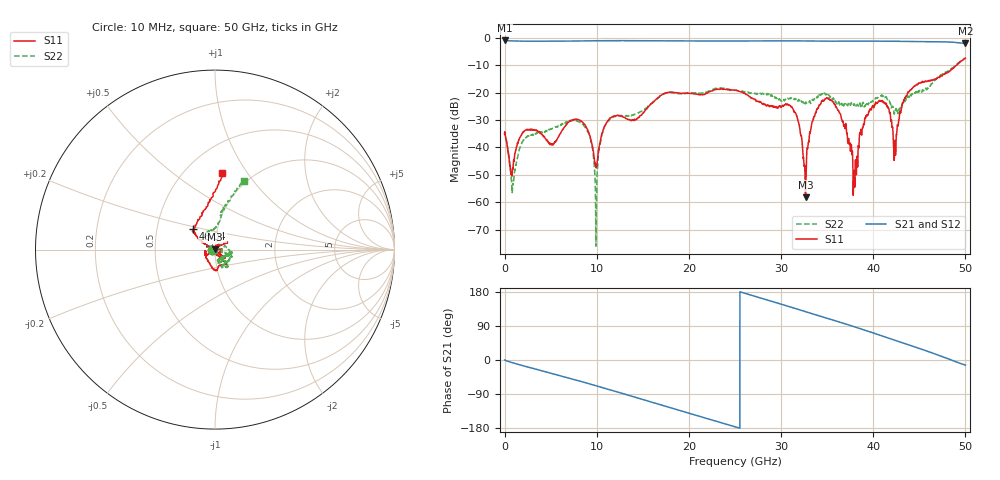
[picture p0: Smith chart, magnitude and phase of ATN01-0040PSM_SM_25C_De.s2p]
!Keysight Technologies,N5247B,US58420632,A.15.75.19
!Date: Wednesday, November 29, 2023 11:38:27
!Correction: S11(C  2-Port  )
!S21(C  2-Port  )
!S12(C  2-Port  )
!S22(C  2-Port  )
!S2P File: Measurements: S11, S21, S12, S22:
# Hz S  dB  R 50
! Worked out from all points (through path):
!   5000 points, 10 MHz to 50 GHz, reference 50 ohm
!   highest |S21| = -0.97 dB at 10 MHz (marker M1); lowest = -2.1 dB at 50 GHz (marker M2)
!   group delay of S21, straight-line fit = 20.5 ps
!   lowest |S11| = -58.1 dB at 32.66 GHz (marker M3), VSWR 1.00, Z = 49.9 + j0.0961 ohm
!   |S11| at or under -10 dB: start of sweep to 49.04 GHz; 49.04813 GHz to 49.05035 GHz (2.218 MHz wide, 0.00452 % of centre)
!   |S22| runs from -76.0 to -7.6 dB; largest |S21 - S12| = 0.0016
!   S11 on the Smith chart (normalised r, x): 10 MHz: 0.97, -0.00; 46.04 GHz: 0.76, +0.18; 50 GHz: 0.74, +0.77
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1e7  -34.99 -177.6  -0.97 -0.1  -0.97 -0.1  -35.49 -177.7
9e8  -47.95 6.0  -1.13 -7.5  -1.14 -7.5  -53.44 24.1
2.37e9  -33.59 -46.6  -1.24 -17.5  -1.25 -17.5  -36.34 -53.4
5.16e9  -38.63 -87.0  -1.22 -35.6  -1.23 -35.6  -33.17 -58.8
8.35e9  -30.55 -148.0  -1.14 -56.9  -1.15 -56.9  -31.07 -144.5
9.35e9  -36.83 -141.7  -1.10 -63.8  -1.11 -63.8  -37.22 -161.1
9.92e9  -47.06 -71.0  -1.08 -67.8  -1.09 -67.8  -75.91 30.3
1.044e10  -37.01 -1.0  -1.07 -71.5  -1.08 -71.5  -37.42 12.0
1.119e10  -30.31 4.2  -1.06 -76.8  -1.06 -76.8  -30.66 11.7
1.668e10  -21.77 -52.3  -1.09 -116.5  -1.09 -116.5  -21.97 -20.0
2.501e10  -19.03 -94.4  -1.16 -176.3  -1.17 -176.3  -19.05 -64.1
3.108e10  -25.17 -145.7  -1.12 139.4  -1.13 139.4  -22.00 -73.3
3.266e10  -58.13 129.2  -1.14 127.5  -1.15 127.6  -23.71 -36.3
3.334e10  -30.94 39.5  -1.16 122.4  -1.17 122.4  -22.82 -23.9
3.561e10  -23.26 35.0  -1.23 105.6  -1.24 105.6  -22.60 -23.1
3.805e10  -46.03 -174.8  -1.20 86.9  -1.20 87.0  -24.78 -69.3
3.933e10  -28.30 -61.5  -1.19 76.8  -1.20 76.8  -24.25 -37.0
4.167e10  -25.53 -42.7  -1.26 58.0  -1.26 58.0  -22.92 1.8
4.237e10  -37.62 -118.2  -1.25 52.3  -1.26 52.4  -26.81 46.3
4.356e10  -21.43 150.3  -1.29 42.5  -1.29 42.5  -22.21 109.8
4.604e10  -15.57 137.1  -1.39 21.8  -1.40 21.7  -17.87 88.7
5e10  -7.41 85.0  -2.07 -13.5  -2.07 -13.5  -7.59 67.1
